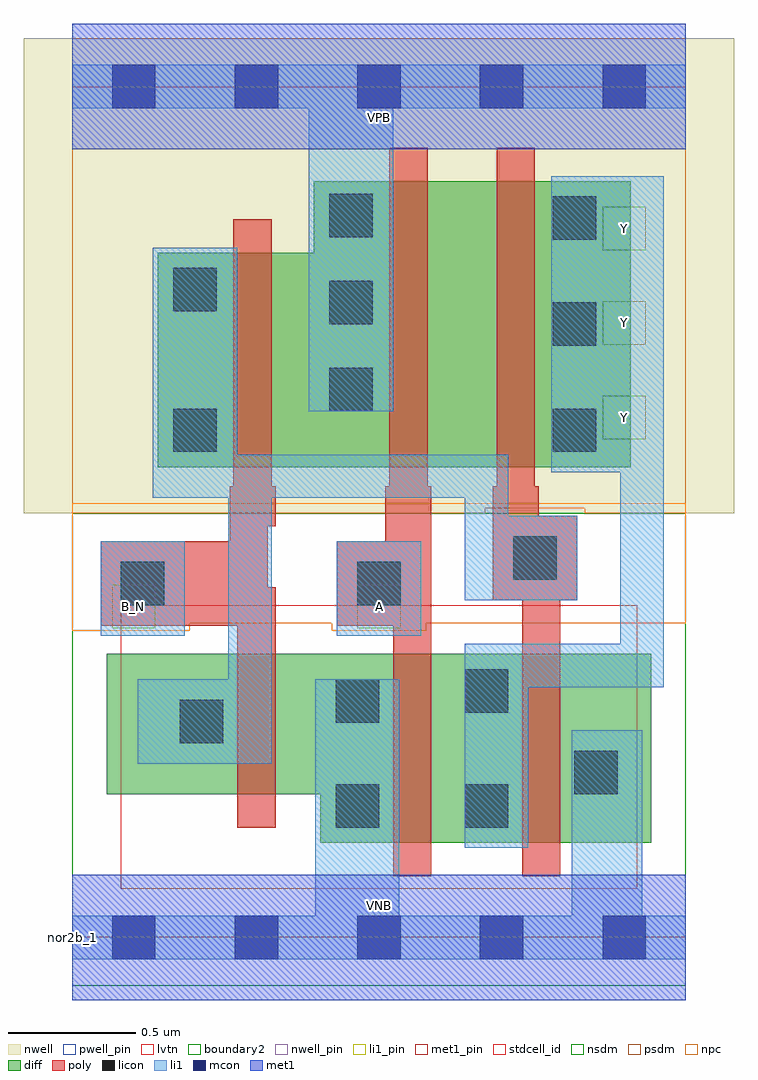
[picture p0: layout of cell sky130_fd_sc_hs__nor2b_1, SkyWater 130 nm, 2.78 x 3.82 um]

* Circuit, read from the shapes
.subckt sky130_fd_sc_hs__nor2b_1 A B_N VGND VNB VPB VPWR Y
XM1 VGND B_N n1 VNB sky130_fd_pr__nfet_01v8_lvt w=0.55 l=0.15
XM2 Y A VGND VNB sky130_fd_pr__nfet_01v8_lvt w=0.74 l=0.15
XM3 VGND n1 Y VNB sky130_fd_pr__nfet_01v8_lvt w=0.74 l=0.15
XM4 VPWR B_N n1 VPB sky130_fd_pr__pfet_01v8 w=0.84 l=0.15
XM5 n2 A VPWR VPB sky130_fd_pr__pfet_01v8 w=1.12 l=0.15
XM6 Y n1 n2 VPB sky130_fd_pr__pfet_01v8 w=1.12 l=0.15
.ends

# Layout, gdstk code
import gdstk
lib = gdstk.Library(unit=1e-6, precision=1e-09)
def R(c, l, rs):  # rectangles x0, y0, x1, y1
    for r in rs: c.add(gdstk.rectangle(r[:2], r[2:], *l))
def A(c, l, x, y, w, h, nx, ny, dx, dy):  # array of equal rectangles
    R(c, l, [(x+i*dx, y+j*dy, x+i*dx+w, y+j*dy+h) for i in range(nx) for j in range(ny)])
def P(c, l, *ps):  # polygons
    for p in ps: c.add(gdstk.Polygon(p, *l))
nwell_pin = (64, 16)
nwell = (64, 20)
diff = (65, 20)
poly = (66, 20)
licon = (66, 44)
li1_pin = (67, 16)
li1 = (67, 20)
mcon = (67, 44)
met1_pin = (68, 16)
met1 = (68, 20)
stdcell_id = (81, 4)
nsdm = (93, 44)
psdm = (94, 20)
npc = (95, 20)
pwell_pin = (122, 16)
lvtn = (125, 44)
boundary2 = (236, 0)

sky130_fd_sc_hs__nor2b_1 = lib.new_cell('sky130_fd_sc_hs__nor2b_1')
R(sky130_fd_sc_hs__nor2b_1, nwell_pin, [(0,3.085,2.4,3.33)])
R(sky130_fd_sc_hs__nor2b_1, nwell, [(-0.19,1.66,2.59,3.52)])
P(sky130_fd_sc_hs__nor2b_1, diff, [(2.185,2.96),(0.945,2.96),(0.945,2.68),(0.335,2.68),(0.335,1.84),(2.185,1.84)],
  [(2.265,1.11),(0.135,1.11),(0.135,0.56),(0.97,0.56),(0.97,0.37),(2.265,0.37)])
P(sky130_fd_sc_hs__nor2b_1, poly, [(0.795,1.37),(0.765,1.37),(0.765,1.61),(0.795,1.61),(0.795,1.765),(0.78,1.765),(0.78,2.81),(0.63,2.81),(0.63,1.765),(0.615,1.765),(0.615,1.55),(0.11,1.55),(0.11,1.22),(0.645,1.22),(0.645,0.43),(0.795,0.43)],
  [(1.405,1.765),(1.39,1.765),(1.39,3.09),(1.24,3.09),(1.24,1.765),(1.225,1.765),(1.225,1.55),(1.035,1.55),(1.035,1.22),(1.255,1.22),(1.255,0.24),(1.405,0.24)],
  [(1.975,1.65),(1.825,1.65),(1.825,1.765),(1.81,1.765),(1.81,3.09),(1.66,3.09),(1.66,1.765),(1.645,1.765),(1.645,1.32),(1.76,1.32),(1.76,0.24),(1.91,0.24),(1.91,1.32),(1.975,1.32)])
A(sky130_fd_sc_hs__nor2b_1, licon, 1.88, 1.9, 0.17, 0.17, 1, 3, 0, 0.415)
A(sky130_fd_sc_hs__nor2b_1, licon, 1.005, 2.06, 0.17, 0.17, 1, 3, 0, 0.34)
R(sky130_fd_sc_hs__nor2b_1, licon, [(1.03,0.43,1.2,0.6), (1.535,0.43,1.705,0.6), (1.965,0.56,2.135,0.73), (0.42,0.76,0.59,0.93), (1.03,0.84,1.2,1.01), (1.535,0.88,1.705,1.05), (0.19,1.3,0.36,1.47), (1.115,1.3,1.285,1.47), (1.725,1.4,1.895,1.57), (0.395,1.9,0.565,2.07), (0.395,2.45,0.565,2.62)])
A(sky130_fd_sc_hs__nor2b_1, li1_pin, 2.075, 1.95, 0.17, 0.17, 1, 3, 0, 0.37)
R(sky130_fd_sc_hs__nor2b_1, li1_pin, [(0.155,1.21,0.325,1.38), (1.115,1.21,1.285,1.38)])
R(sky130_fd_sc_hs__nor2b_1, li1, [(0.11,1.18,0.44,1.55), (1.035,1.18,1.365,1.55)])
P(sky130_fd_sc_hs__nor2b_1, li1, [(0.925,2.06),(0.925,3.245),(0,3.245),(0,3.415),(2.4,3.415),(2.4,3.245),(1.255,3.245),(1.255,2.06)],
  [(1.955,0.085),(1.955,0.81),(2.23,0.81),(2.23,0.085),(2.4,0.085),(2.4,-0.085),(0,-0.085),(0,0.085),(0.95,0.085),(0.95,1.01),(1.28,1.01),(1.28,0.085)],
  [(0.645,1.89),(1.705,1.89),(1.705,1.65),(1.975,1.65),(1.975,1.32),(1.535,1.32),(1.535,1.72),(0.78,1.72),(0.78,0.68),(0.255,0.68),(0.255,1.01),(0.61,1.01),(0.61,1.72),(0.315,1.72),(0.315,2.7),(0.645,2.7)],
  [(1.875,1.82),(1.875,2.98),(2.315,2.98),(2.315,0.98),(1.785,0.98),(1.785,0.35),(1.535,0.35),(1.535,1.15),(2.145,1.15),(2.145,1.82)])
A(sky130_fd_sc_hs__nor2b_1, mcon, 0.155, -0.085, 0.17, 0.17, 5, 2, 0.48, 3.33)
R(sky130_fd_sc_hs__nor2b_1, met1_pin, [(0,0,2.4,0.245), (0,3.085,2.4,3.33)])
R(sky130_fd_sc_hs__nor2b_1, met1, [(0,-0.245,2.4,0.245), (0,3.085,2.4,3.575)])
R(sky130_fd_sc_hs__nor2b_1, stdcell_id, [(0,0,2.4,3.33)])
R(sky130_fd_sc_hs__nor2b_1, nsdm, [(0,-0.19,2.4,1.66)])
P(sky130_fd_sc_hs__nor2b_1, psdm, [(2.4,3.52),(0,3.52),(0,1.66),(1.615,1.66),(1.615,1.68),(2.005,1.68),(2.005,1.66),(2.4,1.66)])
P(sky130_fd_sc_hs__nor2b_1, npc, [(2.4,1.7),(0,1.7),(0,1.2),(0.46,1.2),(0.46,1.23),(1.015,1.23),(1.015,1.2),(1.385,1.2),(1.385,1.23),(2.4,1.23)])
R(sky130_fd_sc_hs__nor2b_1, pwell_pin, [(0,0,2.4,0.245)])
R(sky130_fd_sc_hs__nor2b_1, lvtn, [(0.19,0.19,2.21,1.3)])
R(sky130_fd_sc_hs__nor2b_1, boundary2, [(0,0,2.4,3.33)])
sky130_fd_sc_hs__nor2b_1.add(gdstk.Label('nor2b_1', (0,0), layer=83, texttype=44))
sky130_fd_sc_hs__nor2b_1.add(gdstk.Label('VNB', (1.2,0.123), layer=64, texttype=59))
sky130_fd_sc_hs__nor2b_1.add(gdstk.Label('VPB', (1.2,3.208), layer=64, texttype=5))
sky130_fd_sc_hs__nor2b_1.add(gdstk.Label('VPWR', (1.2,3.208), layer=68, texttype=5))
sky130_fd_sc_hs__nor2b_1.add(gdstk.Label('VGND', (1.2,0.123), layer=68, texttype=5))
sky130_fd_sc_hs__nor2b_1.add(gdstk.Label('B_N', (0.24,1.295), layer=67, texttype=5))
sky130_fd_sc_hs__nor2b_1.add(gdstk.Label('Y', (2.16,2.035), layer=67, texttype=5))
sky130_fd_sc_hs__nor2b_1.add(gdstk.Label('Y', (2.16,2.405), layer=67, texttype=5))
sky130_fd_sc_hs__nor2b_1.add(gdstk.Label('Y', (2.16,2.775), layer=67, texttype=5))
sky130_fd_sc_hs__nor2b_1.add(gdstk.Label('A', (1.2,1.295), layer=67, texttype=5))

lib.write_gds('sky130_fd_sc_hs__nor2b_1.gds')
